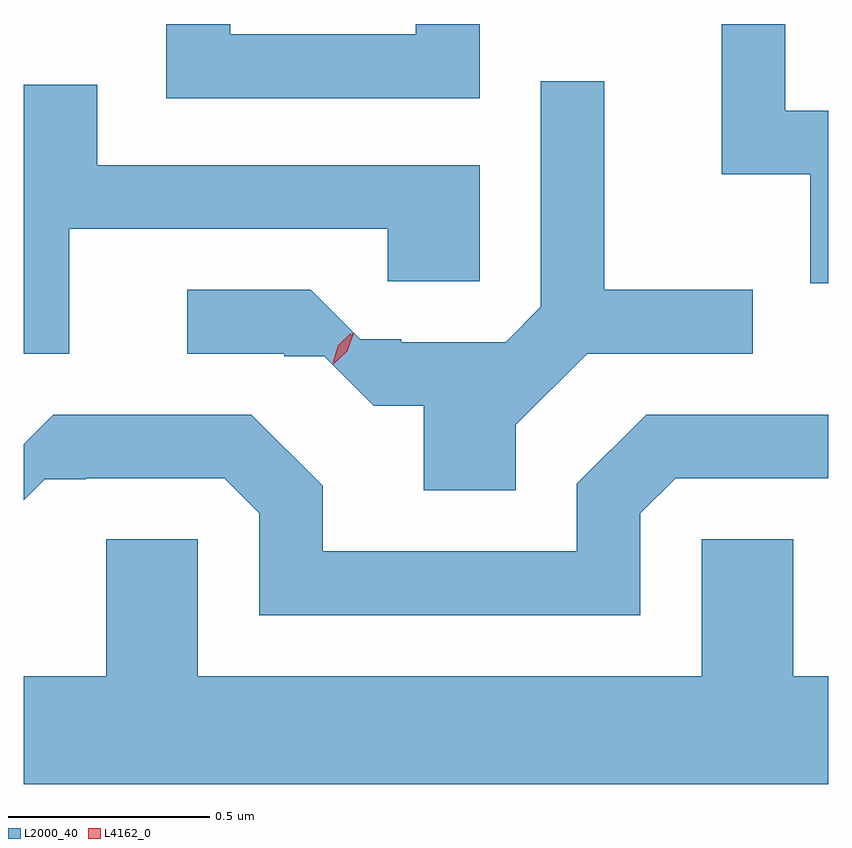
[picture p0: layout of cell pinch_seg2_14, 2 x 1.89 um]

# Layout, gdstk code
import gdstk
lib = gdstk.Library(unit=1e-6, precision=1e-09)
def P(c, l, *ps):  # polygons
    for p in ps: c.add(gdstk.Polygon(p, *l))
L2000_40 = (2000, 40)
L4162_0 = (4162, 0)

pinch_seg2_14 = lib.new_cell('pinch_seg2_14')
P(pinch_seg2_14, L2000_40, [(1737.809,1094.605),(1737.651,1094.605),(1737.651,1094.579),(1737.189,1094.579),(1737.189,1094.605),(1737.031,1094.605),(1737.031,1094.421),(1737.809,1094.421)],
  [(1738.676,1094.389),(1738.569,1094.389),(1738.569,1094.605),(1738.411,1094.605),(1738.411,1094.231),(1738.631,1094.231),(1738.631,1093.961),(1738.676,1093.961)],
  [(1737.899,1093.609),(1738.077,1093.786),(1738.488,1093.786),(1738.488,1093.944),(1738.119,1093.944),(1738.119,1094.463),(1737.961,1094.463),(1737.961,1093.902),(1737.874,1093.814),(1737.615,1093.814),(1737.615,1093.821),(1737.513,1093.821),(1737.39,1093.944),(1737.083,1093.944),(1737.083,1093.786),(1737.324,1093.786),(1737.324,1093.779),(1737.423,1093.779),(1737.546,1093.656),(1737.671,1093.656),(1737.671,1093.446),(1737.899,1093.446)],
  [(1736.789,1094.096),(1737.581,1094.096),(1737.581,1093.966),(1737.809,1093.966),(1737.809,1094.254),(1736.859,1094.254),(1736.859,1094.454),(1736.676,1094.454),(1736.676,1093.786),(1736.789,1093.786)],
  [(1738.209,1093.389),(1738.297,1093.476),(1738.676,1093.476),(1738.676,1093.634),(1738.224,1093.634),(1738.051,1093.462),(1738.051,1093.294),(1737.419,1093.294),(1737.419,1093.457),(1737.242,1093.634),(1736.749,1093.634),(1736.676,1093.561),(1736.676,1093.421),(1736.728,1093.473),(1736.83,1093.473),(1736.83,1093.476),(1737.174,1093.476),(1737.261,1093.389),(1737.261,1093.136),(1738.209,1093.136)],
  [(1738.676,1092.984),(1738.589,1092.984),(1738.589,1093.324),(1738.361,1093.324),(1738.361,1092.984),(1737.109,1092.984),(1737.109,1093.324),(1736.881,1093.324),(1736.881,1092.984),(1736.676,1092.984),(1736.676,1092.716),(1738.676,1092.716)])
P(pinch_seg2_14, L4162_0, [(1737.446,1093.759),(1737.445,1093.76),(1737.463,1093.803),(1737.496,1093.837),(1737.497,1093.837),(1737.497,1093.836),(1737.48,1093.792),(1737.446,1093.759)],
  [(1737.445,1093.766),(1737.445,1093.767),(1737.458,1093.806),(1737.488,1093.835),(1737.489,1093.836),(1737.489,1093.835),(1737.475,1093.795),(1737.446,1093.766)])

lib.write_gds('pinch_seg2_14.gds')
